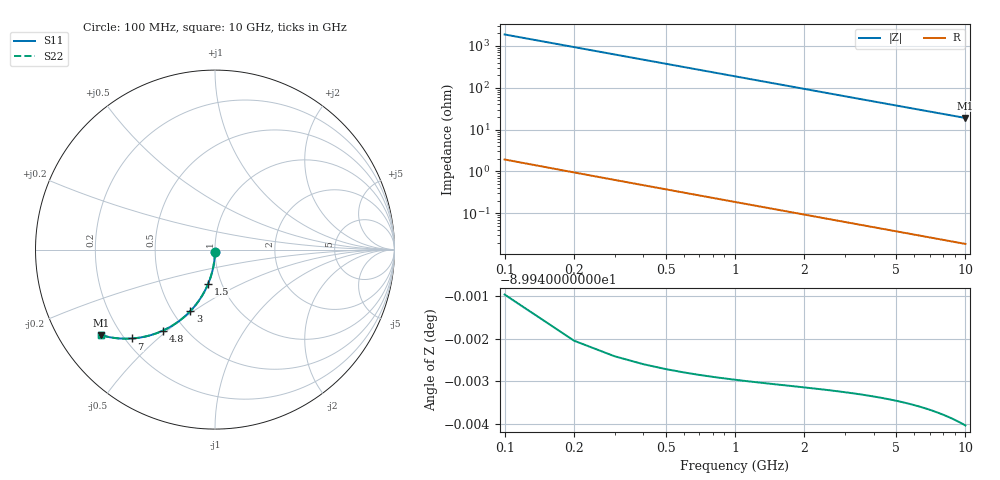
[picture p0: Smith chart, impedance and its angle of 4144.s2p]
# Hz S RI R 50.00
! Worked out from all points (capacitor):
!   100 points, 100 MHz to 10 GHz, reference 50 ohm
!   read as one part in shunt: C = 849 fF near 100 MHz
!   lowest |Z| = 19 ohm at 10 GHz (marker M1)
!   S11 on the Smith chart (normalised r, x): 100 MHz: 1.00, -0.03; 1.5 GHz: 0.86, -0.34; 3 GHz: 0.61, -0.49; 4.8 GHz: 0.38, -0.48; 7 GHz: 0.23, -0.41; 10 GHz: 0.13, -0.33
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1e8  -0.000178 -0.0133  0.9998 -0.0134  0.9998 -0.0134  -0.000178 -0.0133
2e8  -0.000724 -0.0266  0.9992 -0.0267  0.9992 -0.0267  -0.000724 -0.0266
3e8  -0.00162 -0.0398  0.9983 -0.0401  0.9983 -0.0401  -0.00162 -0.0398
4e8  -0.00288 -0.053  0.9971 -0.0534  0.9971 -0.0534  -0.00288 -0.053
5e8  -0.00448 -0.0662  0.9955 -0.0666  0.9955 -0.0666  -0.00448 -0.0662
6e8  -0.00643 -0.0792  0.9935 -0.0798  0.9935 -0.0798  -0.00643 -0.0792
7e8  -0.00872 -0.0922  0.9913 -0.0928  0.9913 -0.0928  -0.00872 -0.0922
9e8  -0.0143 -0.1179  0.9857 -0.1187  0.9857 -0.1187  -0.0143 -0.1179
1.2e9  -0.0251 -0.1554  0.9749 -0.1565  0.9749 -0.1565  -0.0251 -0.1554
1.5e9  -0.0386 -0.1916  0.9614 -0.1928  0.9614 -0.1928  -0.0386 -0.1916
1.8e9  -0.0546 -0.226  0.9454 -0.2275  0.9454 -0.2275  -0.0546 -0.226
2.4e9  -0.093 -0.2889  0.907 -0.2909  0.907 -0.2909  -0.093 -0.2889
3e9  -0.1378 -0.343  0.8621 -0.3455  0.8621 -0.3455  -0.1378 -0.343
3.4e9  -0.1702 -0.3739  0.8297 -0.3768  0.8297 -0.3768  -0.1702 -0.3739
4.1e9  -0.2295 -0.4183  0.7705 -0.4218  0.7705 -0.4218  -0.2295 -0.4183
4.8e9  -0.2896 -0.451  0.7104 -0.4551  0.7104 -0.4551  -0.2896 -0.451
5.1e9  -0.315 -0.4618  0.685 -0.4662  0.685 -0.4662  -0.315 -0.4618
5.9e9  -0.3806 -0.4825  0.6194 -0.4876  0.6194 -0.4876  -0.3806 -0.4825
6.7e9  -0.4417 -0.4932  0.5582 -0.499  0.5582 -0.499  -0.4417 -0.4932
7e9  -0.4633 -0.4951  0.5367 -0.5012  0.5367 -0.5012  -0.4633 -0.4951
8.4e9  -0.5536 -0.493  0.4463 -0.5003  0.4463 -0.5003  -0.5536 -0.493
1e10  -0.6369 -0.476  0.3631 -0.4848  0.3631 -0.4848  -0.6369 -0.476
